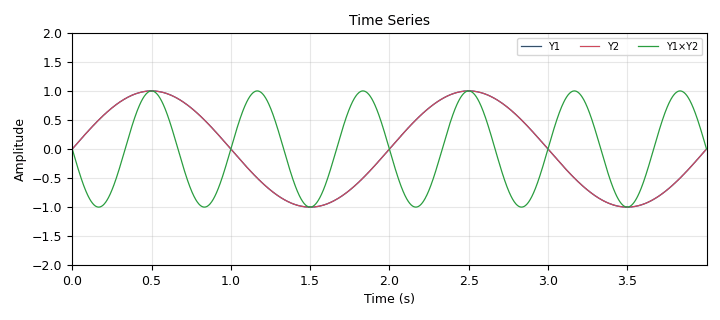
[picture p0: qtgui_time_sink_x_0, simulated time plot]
options:
  parameters:
    generate_options: qt_gui
    id: untitled
    output_language: python
    title: Phase Lab
  states: {}

blocks:
- name: a_y1
  id: variable_qtgui_dial_control
  parameters:
    gui_hint: 4,0,1,1
    label: Amplitude (Y1)
    maximum: '100'
    minimum: '0'
    relBackgroundColor: aqua
    scaleFactor: '0.01'
    showvalue: 'True'
    type: real
    value: '1'
  states: {}
- name: a_y2
  id: variable_qtgui_dial_control
  parameters:
    gui_hint: 4,4,1,1
    label: Amplitude (Y2)
    maximum: '100'
    minimum: '0'
    relBackgroundColor: purple
    scaleFactor: '0.01'
    showvalue: 'True'
    type: real
    value: '1'
  states: {}
- name: dc_y1
  id: variable_qtgui_dial_control
  parameters:
    gui_hint: 4,3,1,1
    label: Offset (Y1)
    maximum: '50'
    minimum: '-50'
    relBackgroundColor: aqua
    scaleFactor: '0.02'
    showvalue: 'True'
    type: real
    value: '0'
  states: {}
- name: dc_y2
  id: variable_qtgui_dial_control
  parameters:
    gui_hint: 4,7,1,1
    label: Offset (Y1)
    maximum: '50'
    minimum: '-50'
    relBackgroundColor: purple
    scaleFactor: '0.02'
    showvalue: 'True'
    type: real
    value: '0'
  states: {}
- name: f_y1
  id: variable_qtgui_dial_control
  parameters:
    gui_hint: 4,1,1,1
    label: Frequency (Y1)
    maximum: '40'
    minimum: '1'
    relBackgroundColor: aqua
    scaleFactor: '0.1'
    showvalue: 'True'
    type: real
    value: '0.5'
  states: {}
- name: f_y2
  id: variable_qtgui_dial_control
  parameters:
    gui_hint: 4,5,1,1
    label: Frequency (Y2)
    maximum: '40'
    minimum: '1'
    relBackgroundColor: purple
    scaleFactor: '0.1'
    showvalue: 'True'
    type: real
    value: '0.5'
  states: {}
- name: p_y1
  id: variable_qtgui_dial_control
  parameters:
    gui_hint: 4,2,1,1
    label: Phase (Y1)
    maximum: '72'
    minimum: '0'
    relBackgroundColor: aqua
    scaleFactor: '5'
    showvalue: 'True'
    type: real
    value: '0'
  states: {}
- name: p_y2
  id: variable_qtgui_dial_control
  parameters:
    gui_hint: 4,6,1,1
    label: Phase (Y2)
    maximum: '72'
    minimum: '0'
    relBackgroundColor: purple
    scaleFactor: '5'
    showvalue: 'True'
    type: real
    value: '90'
  states: {}
- name: samp_rate
  id: variable
  parameters:
    value: '22050'
  states: {}
- name: analog_sig_source_x_0_0
  id: analog_sig_source_x
  parameters:
    amp: '1'
    freq: '1'
    offset: '0'
    phase: '0'
    samp_rate: samp_rate
    type: complex
    waveform: analog.GR_SIN_WAVE
  states: {}
- name: blocks_add_const_vxx_0
  id: blocks_add_const_vxx
  parameters:
    const: p_y2
    type: float
  states: {}
- name: blocks_add_const_vxx_1
  id: blocks_add_const_vxx
  parameters:
    const: dc_y1
    type: float
  states: {}
- name: blocks_add_const_vxx_1_0
  id: blocks_add_const_vxx
  parameters:
    const: dc_y2
    type: float
  states: {}
- name: blocks_complex_to_arg_0
  id: blocks_complex_to_arg
  parameters: {}
  states: {}
- name: blocks_complex_to_arg_2
  id: blocks_complex_to_arg
  parameters: {}
  states: {}
- name: blocks_complex_to_float_1
  id: blocks_complex_to_float
  parameters: {}
  states: {}
- name: blocks_complex_to_float_1_0
  id: blocks_complex_to_float
  parameters: {}
  states: {}
- name: blocks_complex_to_float_1_1
  id: blocks_complex_to_float
  parameters: {}
  states: {}
- name: blocks_freqshift_cc_0
  id: blocks_freqshift_cc
  parameters:
    freq: f_y1 - 1
    sample_rate: samp_rate
  states: {}
- name: blocks_freqshift_cc_0_0
  id: blocks_freqshift_cc
  parameters:
    freq: f_y2 - 1
    sample_rate: samp_rate
  states: {}
- name: blocks_freqshift_cc_0_0_0
  id: blocks_freqshift_cc
  parameters:
    freq: f_y2 - 1
    sample_rate: samp_rate
  states: {}
- name: blocks_multiply_const_vxx_0
  id: blocks_multiply_const_vxx
  parameters:
    const: a_y2
    type: float
  states: {}
- name: blocks_multiply_const_vxx_0_0
  id: blocks_multiply_const_vxx
  parameters:
    const: a_y1
    type: float
  states: {}
- name: blocks_multiply_xx_0
  id: blocks_multiply_xx
  parameters:
    type: complex
  states: {}
- name: blocks_phase_shift_0
  id: blocks_phase_shift
  parameters:
    is_radians: 'False'
    shift: p_y1
  states: {}
- name: blocks_phase_shift_0_0
  id: blocks_phase_shift
  parameters:
    is_radians: 'False'
    shift: p_y1
  states: {}
- name: blocks_sub_xx_0
  id: blocks_sub_xx
  parameters:
    type: float
  states: {}
- name: diff
  id: blocks_probe_signal_x
  parameters:
    type: float
  states: {}
- name: import_0
  id: import
  parameters:
    imports: import math
  states: {}
- name: qtgui_time_sink_x_0
  id: qtgui_time_sink_x
  parameters:
    color1: cyan
    color2: magenta
    color3: black
    ctrlpanel: 'True'
    entags: 'False'
    grid: 'True'
    gui_hint: 0,0,3,4
    label1: Y1
    label2: Y2
    label3: Y1×Y2
    name: Time Series
    nconnections: '3'
    size: samp_rate*4
    srate: samp_rate
    style3: '3'
    tr_mode: qtgui.TRIG_MODE_AUTO
    type: float
    width1: '3'
    width2: '3'
    width3: '3'
    ymax: '2'
    ymin: '-2'
  states: {}

connections:
- [analog_sig_source_x_0_0, '0', blocks_freqshift_cc_0, '0']
- [analog_sig_source_x_0_0, '0', blocks_freqshift_cc_0_0, '0']
- [analog_sig_source_x_0_0, '0', blocks_freqshift_cc_0_0_0, '0']
- [analog_sig_source_x_0_0, '0', blocks_multiply_xx_0, '0']
- [blocks_add_const_vxx_0, '0', diff, '0']
- [blocks_add_const_vxx_1, '0', qtgui_time_sink_x_0, '0']
- [blocks_add_const_vxx_1_0, '0', qtgui_time_sink_x_0, '1']
- [blocks_complex_to_arg_0, '0', blocks_sub_xx_0, '1']
- [blocks_complex_to_arg_2, '0', blocks_sub_xx_0, '0']
- [blocks_complex_to_float_1, '0', blocks_multiply_const_vxx_0_0, '0']
- [blocks_complex_to_float_1_0, '0', blocks_multiply_const_vxx_0, '0']
- [blocks_complex_to_float_1_1, '0', qtgui_time_sink_x_0, '2']
- [blocks_freqshift_cc_0, '0', blocks_complex_to_arg_2, '0']
- [blocks_freqshift_cc_0, '0', blocks_phase_shift_0, '0']
- [blocks_freqshift_cc_0_0, '0', blocks_complex_to_arg_0, '0']
- [blocks_freqshift_cc_0_0, '0', blocks_phase_shift_0_0, '0']
- [blocks_freqshift_cc_0_0_0, '0', blocks_multiply_xx_0, '1']
- [blocks_multiply_const_vxx_0, '0', blocks_add_const_vxx_1_0, '0']
- [blocks_multiply_const_vxx_0_0, '0', blocks_add_const_vxx_1, '0']
- [blocks_multiply_xx_0, '0', blocks_complex_to_float_1_1, '0']
- [blocks_phase_shift_0, '0', blocks_complex_to_float_1, '0']
- [blocks_phase_shift_0_0, '0', blocks_complex_to_float_1_0, '0']
- [blocks_sub_xx_0, '0', blocks_add_const_vxx_0, '0']

metadata:
  file_format: 1
  grc_version: 3.10.12.0
